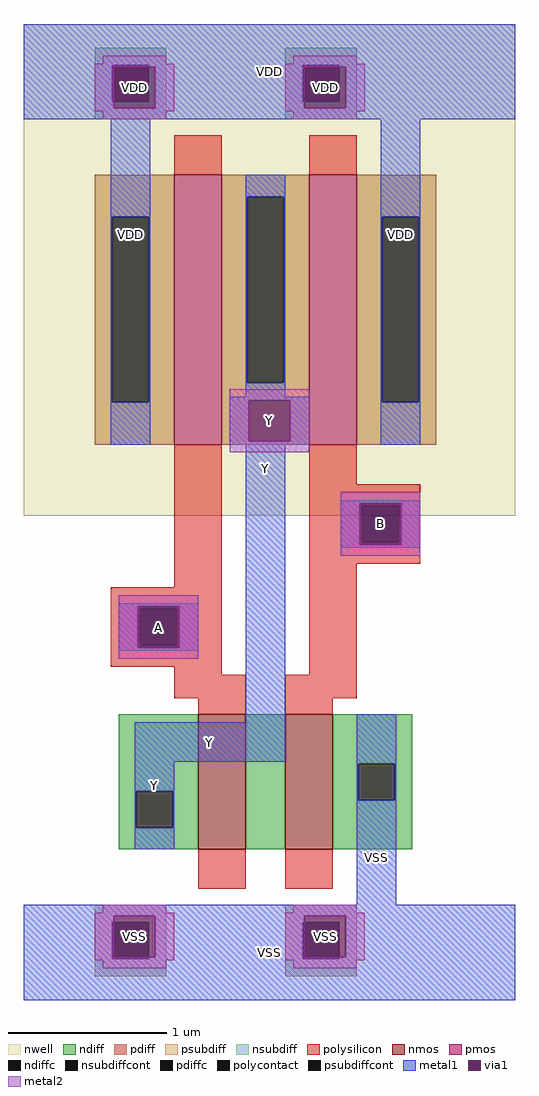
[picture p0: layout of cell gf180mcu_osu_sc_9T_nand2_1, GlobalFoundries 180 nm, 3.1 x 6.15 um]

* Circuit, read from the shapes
.subckt gf180mcu_osu_sc_9T_nand2_1 A B Y VDD VSS
XM1 n1 A Y VSS nfet_03v3 w=0.85u l=0.3u
XM2 VSS B n1 VSS nfet_03v3 w=0.85u l=0.3u
XM3 Y A VDD VDD pfet_03v3 w=1.7u l=0.3u
XM4 VDD B Y VDD pfet_03v3 w=1.7u l=0.3u
.ends

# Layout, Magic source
magic
tech gf180mcuA
magscale 1 10
<< nwell >>
rect 0 610 620 1230
<< nmos >>
rect 220 190 280 360
rect 330 190 390 360
<< pmos >>
rect 190 700 250 1040
rect 360 700 420 1040
<< ndiff >>
rect 120 263 220 360
rect 120 217 142 263
rect 188 217 220 263
rect 120 190 220 217
rect 280 190 330 360
rect 390 298 490 360
rect 390 252 422 298
rect 468 252 490 298
rect 390 190 490 252
<< pdiff >>
rect 90 987 190 1040
rect 90 753 112 987
rect 158 753 190 987
rect 90 700 190 753
rect 250 1012 360 1040
rect 250 778 282 1012
rect 328 778 360 1012
rect 250 700 360 778
rect 420 987 520 1040
rect 420 753 452 987
rect 498 753 520 987
rect 420 700 520 753
<< ndiffc >>
rect 142 217 188 263
rect 422 252 468 298
<< pdiffc >>
rect 112 753 158 987
rect 282 778 328 1012
rect 452 753 498 987
<< psubdiff >>
rect 90 98 180 120
rect 90 52 112 98
rect 158 52 180 98
rect 90 30 180 52
rect 330 98 420 120
rect 330 52 352 98
rect 398 52 420 98
rect 330 30 420 52
<< nsubdiff >>
rect 90 1178 180 1200
rect 90 1132 112 1178
rect 158 1132 180 1178
rect 90 1110 180 1132
rect 330 1178 420 1200
rect 330 1132 352 1178
rect 398 1132 420 1178
rect 330 1110 420 1132
<< psubdiffcont >>
rect 112 52 158 98
rect 352 52 398 98
<< nsubdiffcont >>
rect 112 1132 158 1178
rect 352 1132 398 1178
<< polysilicon >>
rect 190 1040 250 1090
rect 360 1040 420 1090
rect 190 520 250 700
rect 110 493 250 520
rect 110 447 147 493
rect 193 447 250 493
rect 110 420 250 447
rect 190 410 250 420
rect 360 650 420 700
rect 360 623 500 650
rect 360 577 427 623
rect 473 577 500 623
rect 360 550 500 577
rect 360 410 420 550
rect 190 380 280 410
rect 220 360 280 380
rect 330 380 420 410
rect 330 360 390 380
rect 220 140 280 190
rect 330 140 390 190
<< polycontact >>
rect 147 447 193 493
rect 427 577 473 623
<< metal1 >>
rect 0 1178 620 1230
rect 0 1132 112 1178
rect 158 1176 352 1178
rect 398 1176 620 1178
rect 166 1132 352 1176
rect 0 1124 114 1132
rect 166 1124 354 1132
rect 406 1124 620 1176
rect 0 1110 620 1124
rect 110 987 160 1110
rect 110 753 112 987
rect 158 753 160 987
rect 280 1012 330 1040
rect 280 778 282 1012
rect 328 778 330 1012
rect 280 760 330 778
rect 450 987 500 1110
rect 110 700 160 753
rect 260 756 360 760
rect 260 704 284 756
rect 336 704 360 756
rect 260 700 360 704
rect 450 753 452 987
rect 498 753 500 987
rect 450 700 500 753
rect 120 496 220 500
rect 120 444 144 496
rect 196 444 220 496
rect 120 440 220 444
rect 280 350 330 700
rect 400 626 500 630
rect 400 574 424 626
rect 476 574 500 626
rect 400 570 500 574
rect 140 300 330 350
rect 140 263 190 300
rect 140 217 142 263
rect 188 217 190 263
rect 140 190 190 217
rect 420 298 470 360
rect 420 252 422 298
rect 468 252 470 298
rect 420 120 470 252
rect 0 106 620 120
rect 0 98 114 106
rect 166 98 354 106
rect 0 52 112 98
rect 166 54 352 98
rect 406 54 620 106
rect 158 52 352 54
rect 398 52 620 54
rect 0 0 620 52
<< via1 >>
rect 114 1132 158 1176
rect 158 1132 166 1176
rect 354 1132 398 1176
rect 398 1132 406 1176
rect 114 1124 166 1132
rect 354 1124 406 1132
rect 284 704 336 756
rect 144 493 196 496
rect 144 447 147 493
rect 147 447 193 493
rect 193 447 196 493
rect 144 444 196 447
rect 424 623 476 626
rect 424 577 427 623
rect 427 577 473 623
rect 473 577 476 623
rect 424 574 476 577
rect 114 98 166 106
rect 354 98 406 106
rect 114 54 158 98
rect 158 54 166 98
rect 354 54 398 98
rect 398 54 406 98
<< metal2 >>
rect 100 1180 180 1190
rect 340 1180 420 1190
rect 90 1176 190 1180
rect 90 1124 114 1176
rect 166 1124 190 1176
rect 90 1120 190 1124
rect 330 1176 430 1180
rect 330 1124 354 1176
rect 406 1124 430 1176
rect 330 1120 430 1124
rect 100 1110 180 1120
rect 340 1110 420 1120
rect 260 756 360 770
rect 260 704 284 756
rect 336 704 360 756
rect 260 690 360 704
rect 400 626 500 640
rect 400 574 424 626
rect 476 574 500 626
rect 400 560 500 574
rect 120 496 220 510
rect 120 444 144 496
rect 196 444 220 496
rect 120 430 220 444
rect 100 110 180 120
rect 340 110 420 120
rect 90 106 190 110
rect 90 54 114 106
rect 166 54 190 106
rect 90 50 190 54
rect 330 106 430 110
rect 330 54 354 106
rect 406 54 430 106
rect 330 50 430 54
rect 100 40 180 50
rect 340 40 420 50
<< labels >>
rlabel metal2 s 100 1110 180 1190 4 VDD
port 8 nsew power bidirectional abutment
rlabel metal2 s 100 40 180 120 4 VSS
port 9 nsew ground bidirectional
rlabel metal2 s 120 430 220 510 4 A
port 1 nsew signal input
rlabel metal2 s 400 560 500 640 4 B
port 2 nsew signal input
rlabel metal2 s 260 690 360 770 4 Y
port 3 nsew signal output
rlabel metal1 s 120 440 220 500 1 A
port 1 nsew signal input
rlabel metal1 s 400 570 500 630 1 B
port 2 nsew signal input
rlabel metal2 s 90 1120 190 1180 1 VDD
port 8 nsew power bidirectional abutment
rlabel metal2 s 340 1110 420 1190 1 VDD
port 8 nsew power bidirectional abutment
rlabel metal2 s 330 1120 430 1180 1 VDD
port 8 nsew power bidirectional abutment
rlabel metal1 s 110 700 160 1230 1 VDD
port 8 nsew power bidirectional abutment
rlabel metal1 s 450 700 500 1230 1 VDD
port 8 nsew power bidirectional abutment
rlabel metal1 s 0 1110 620 1230 1 VDD
port 8 nsew power bidirectional abutment
rlabel metal2 s 90 50 190 110 1 VSS
port 9 nsew ground bidirectional
rlabel metal2 s 340 40 420 120 1 VSS
port 9 nsew ground bidirectional
rlabel metal2 s 330 50 430 110 1 VSS
port 9 nsew ground bidirectional
rlabel metal1 s 420 0 470 360 1 VSS
port 9 nsew ground bidirectional
rlabel metal1 s 0 0 620 120 1 VSS
port 9 nsew ground bidirectional
rlabel metal1 s 140 190 190 350 1 Y
port 3 nsew signal output
rlabel metal1 s 140 300 330 350 1 Y
port 3 nsew signal output
rlabel metal1 s 280 300 330 1040 1 Y
port 3 nsew signal output
rlabel metal1 s 260 700 360 760 1 Y
port 3 nsew signal output
<< properties >>
string FIXED_BBOX 0 0 620 1230
string GDS_END 419748
string GDS_FILE $PDKPATH/libs.ref/gf180mcu_osu_sc_9T/gds/gf180mcu_osu_sc_9T.gds
string GDS_START 414430
string LEFclass CORE
string LEFsite GF018hv5v_mcu_sc7
string LEFsymmetry X Y
<< end >>
